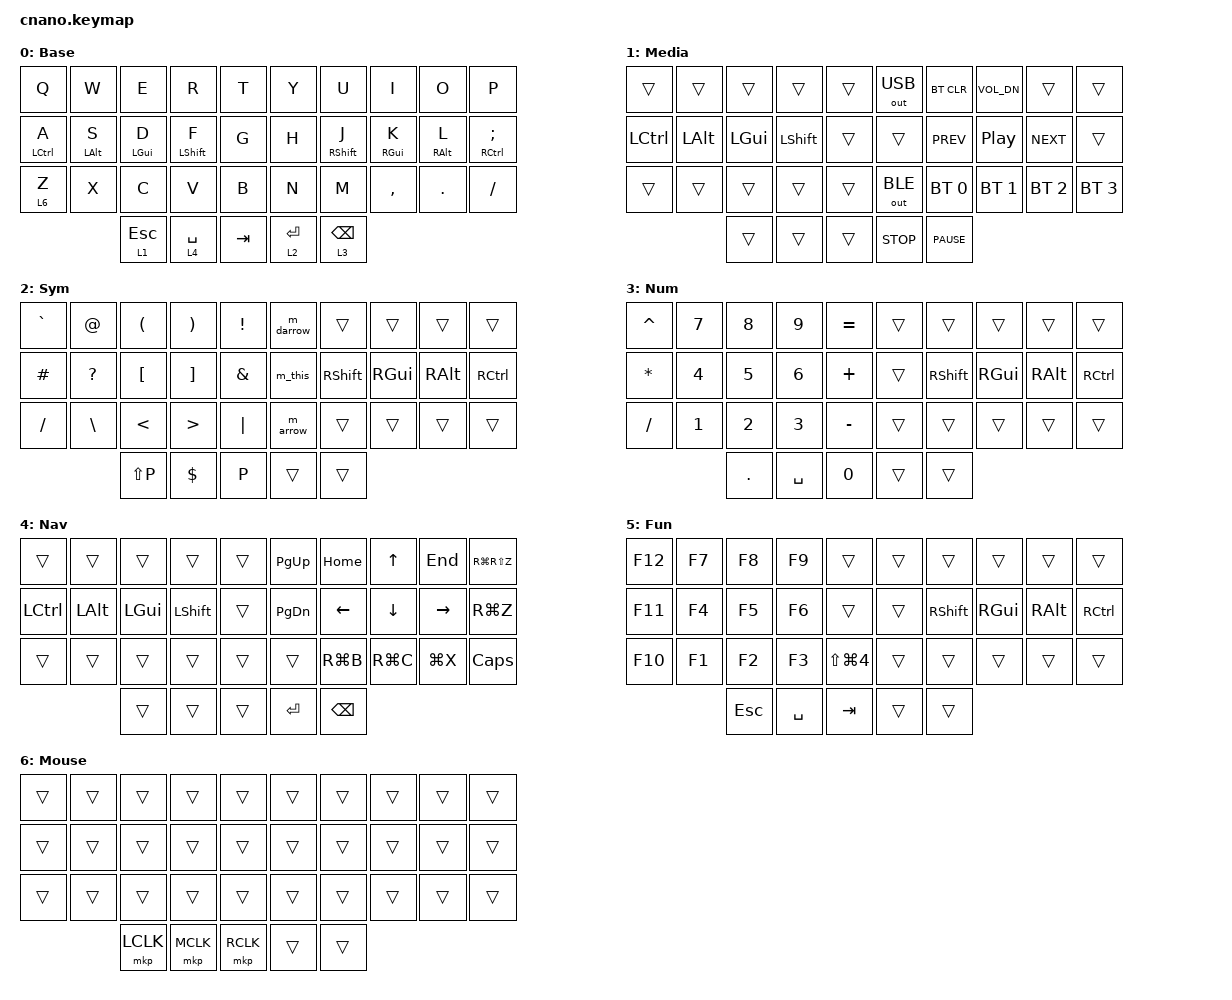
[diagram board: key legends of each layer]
#include <behaviors.dtsi>
#include <dt-bindings/zmk/mouse.h>
#include <dt-bindings/zmk/bt.h>
#include <dt-bindings/zmk/keys.h>
#include <dt-bindings/zmk/outputs.h>

&mt {
    tapping-term-ms = <400>;
};

/ {
    chosen {
        zmk,battery = &vbatt;
    };

    vbatt: vbatt {
        compatible = "zmk,battery-nrf-vddh";
        label = "VBATT";
    };

    behaviors {
        lhht: left-hand-hold-tap {
            compatible = "zmk,behavior-hold-tap";
            label = "LEFT_HOLD_TAP";
            bindings = <&kp>, <&kp>;

            #binding-cells = <2>;
            tapping-term-ms = <200>;
            flavor = "tap-preferred";
            quick-tap-ms = <125>;
            global-quick-tap;
            hold-trigger-key-positions = <6 7 8 9 19 18 33 34 35 39 40 41 5 15 25 26 16 17 27 28 29>;
        };

        rhht: rhht {
            compatible = "zmk,behavior-hold-tap";
            label = "RHHT";
            bindings = <&kp>, <&kp>;

            #binding-cells = <2>;
            tapping-term-ms = <200>;
            quick-tap-ms = <125>;
            flavor = "tap-preferred";
            global-quick-tap;
            hold-trigger-key-positions = <4 3 2 1 13 14 0 12 24 38 37 36 10 11 20 21 22 23 30 31 32>;
        };
    };

    combos {
        compatible = "zmk,combos";

        lang_switch {
            bindings = <&kp LC(SPACE)>;
            key-positions = <10 20>;
        };

        kp_bslh {
            bindings = <&kp BACKSLASH>;
            key-positions = <0 10>;
        };

        kp_lbkt {
            bindings = <&kp LBKT>;
            key-positions = <9 19>;
        };

        kp_apos {
            bindings = <&kp APOS>;
            key-positions = <29 19>;
        };

        kp_rbkt {
            bindings = <&kp RBKT>;
            key-positions = <8 18>;
        };
    };

    macros {
        m_arrow: m_arrow {
            compatible = "zmk,behavior-macro";
            #binding-cells = <0>;
            bindings = <&kp MINUS &kp GT>;
            label = "M_ARROW";
        };

        m_darrow: m_darrow {
            compatible = "zmk,behavior-macro";
            #binding-cells = <0>;
            bindings = <&kp EQUAL &kp GT>;
            label = "M_DARROW";
        };

        m_this: m_this {
            compatible = "zmk,behavior-macro";
            #binding-cells = <0>;
            bindings = <&kp DLLR &kp F &kp M &kp L &kp D &kp MINUS &kp GT>;
            label = "M_THIS";
        };
    };

    keymap {
        compatible = "zmk,keymap";

        Base {
            // -----------------------------------------------------------------------------------------
            // |  TAB |  Q  |  W  |  E  |  R  |  T  |   |  Y  |  U   |  I  |  O  |  P  | BKSP |
            // | CTRL |  A  |  S  |  D  |  F  |  G  |   |  H  |  J   |  K  |  L  |  ;  |  '   |
            // | SHFT |  Z  |  X  |  C  |  V  |  B  |   |  N  |  M   |  ,  |  .  |  /  | ESC  |
            //                    | GUI | LWR | SPC |   | ENT | RSE  | ALT |

            bindings = <
&kp Q          &kp W             &kp E         &kp R               &kp T      &kp Y        &kp U                &kp I              &kp O              &kp P
&lhht LCTRL A  &lhht LEFT_ALT S  &lhht LGUI D  &lhht LEFT_SHIFT F  &kp G      &kp H        &rhht RIGHT_SHIFT J  &rhht RIGHT_GUI K  &rhht RIGHT_ALT L  &rhht RCTRL SEMICOLON
&lt 6 Z        &kp X             &kp C         &kp V               &kp B      &kp N        &kp M                &kp COMMA          &kp DOT            &kp FSLH
                                 &lt 1 ESCAPE  &lt 4 SPACE         &kp TAB    &lt 2 ENTER  &lt 3 BACKSPACE
            >;

            trackball-bindings = <&tmv_coarse>;
        };

        Media {
            // -----------------------------------------------------------------------------------------
            // |  TAB |  1  |  2  |  3  |  4  |  5  |   |  6  |  7  |  8  |  9  |  0  | BKSP |
            // | BTCLR| BT1 | BT2 | BT3 | BT4 | BT5 |   | LFT | DWN |  UP | RGT |     |      |
            // | SHFT |     |     |     |     |     |   |     |     |     |     |     |      |
            //                    | GUI |     | SPC |   | ENT |     | ALT |

            bindings = <
&trans            &trans        &trans        &trans          &trans    &out OUT_USB  &bt BT_CLR    &kp C_VOL_DN      &trans        &trans
&kp LEFT_CONTROL  &kp LEFT_ALT  &kp LEFT_GUI  &kp LEFT_SHIFT  &trans    &trans        &kp C_PREV    &kp C_PLAY_PAUSE  &kp C_NEXT    &trans
&trans            &trans        &trans        &trans          &trans    &out OUT_BLE  &bt BT_SEL 0  &bt BT_SEL 1      &bt BT_SEL 2  &bt BT_SEL 3
                                &trans        &trans          &trans    &kp K_STOP    &kp C_PAUSE
            >;
        };

        Sym {
            // -----------------------------------------------------------------------------------------
            // |  TAB |  !  |  @  |  #  |  $  |  %  |   |  ^  |  &  |  *  |  (  |  )  | BKSP |
            // | CTRL |     |     |     |     |     |   |  -  |  =  |  [  |  ]  |  \  |  `   |
            // | SHFT |     |     |     |     |     |   |  _  |  +  |  {  |  }  | "|" |  ~   |
            //                    | GUI |     | SPC |   | ENT |     | ALT |

            bindings = <
&kp GRAVE  &kp AT_SIGN    &kp LEFT_PARENTHESIS  &kp RIGHT_PARENTHESIS  &kp EXCLAMATION    &m_darrow  &trans           &trans         &trans         &trans
&kp HASH   &kp QUESTION   &kp LEFT_BRACKET      &kp RIGHT_BRACKET      &kp AMPERSAND      &m_this    &kp RIGHT_SHIFT  &kp RIGHT_GUI  &kp RIGHT_ALT  &kp RIGHT_CONTROL
&kp SLASH  &kp BACKSLASH  &kp LESS_THAN         &kp GREATER_THAN       &kp PIPE           &m_arrow   &trans           &trans         &trans         &trans
                          &kp LS(P)             &kp DOLLAR             &kp P              &trans     &trans
            >;
        };

        Num {
            bindings = <
&kp CARET     &kp NUMBER_7  &kp NUMBER_8  &kp NUMBER_9  &kp EQUAL    &trans  &trans           &trans         &trans         &trans
&kp ASTERISK  &kp NUMBER_4  &kp NUMBER_5  &kp NUMBER_6  &kp PLUS     &trans  &kp RIGHT_SHIFT  &kp RIGHT_GUI  &kp RIGHT_ALT  &kp RIGHT_CONTROL
&kp SLASH     &kp NUMBER_1  &kp NUMBER_2  &kp NUMBER_3  &kp MINUS    &trans  &trans           &trans         &trans         &trans
                            &kp DOT       &kp SPACE     &kp N0       &trans  &trans
            >;
        };

        Nav {
            bindings = <
&trans     &trans        &trans        &trans          &trans    &kp PAGE_UP    &kp HOME       &kp UP     &kp END    &kp RG(RS(Z))
&kp LCTRL  &kp LEFT_ALT  &kp LEFT_GUI  &kp LEFT_SHIFT  &trans    &kp PAGE_DOWN  &kp LEFT       &kp DOWN   &kp RIGHT  &kp RG(Z)
&trans     &trans        &trans        &trans          &trans    &trans         &kp RG(B)      &kp RG(C)  &kp LG(X)  &kp CAPS
                         &trans        &trans          &trans    &kp ENTER      &kp BACKSPACE
            >;
        };

        Fun {
            bindings = <
&kp F12  &kp F7  &kp F8      &kp F9     &trans                  &trans  &trans           &trans         &trans         &trans
&kp F11  &kp F4  &kp F5      &kp F6     &trans                  &trans  &kp RIGHT_SHIFT  &kp RIGHT_GUI  &kp RIGHT_ALT  &kp RIGHT_CONTROL
&kp F10  &kp F1  &kp F2      &kp F3     &kp LS(LG(NUMBER_4))    &trans  &trans           &trans         &trans         &trans
                 &kp ESCAPE  &kp SPACE  &kp TAB                 &trans  &trans
            >;
        };

        Mouse {
            bindings = <
&trans  &trans  &trans     &trans     &trans       &trans  &trans  &trans  &trans  &trans
&trans  &trans  &trans     &trans     &trans       &trans  &trans  &trans  &trans  &trans
&trans  &trans  &trans     &trans     &trans       &trans  &trans  &trans  &trans  &trans
                &mkp LCLK  &mkp MCLK  &mkp RCLK    &trans  &trans
            >;
        };
    };
};
